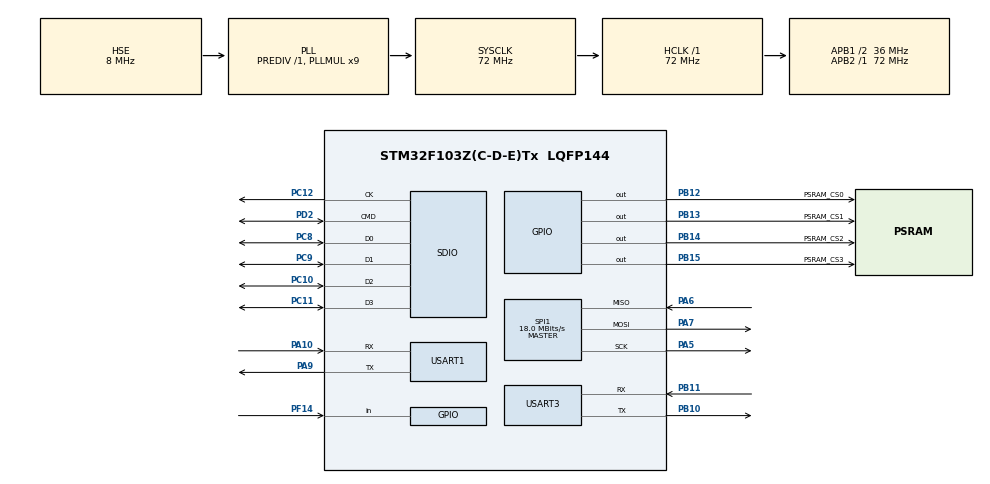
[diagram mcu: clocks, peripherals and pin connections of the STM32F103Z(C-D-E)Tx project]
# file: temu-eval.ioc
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Dma.Request0=SDIO
Dma.Request1=SPI1_TX
Dma.Request2=SPI1_RX
Dma.SDIO.0.Direction=DMA_PERIPH_TO_MEMORY
Dma.SDIO.0.Instance=DMA2_Channel4
Dma.SDIO.0.MemDataAlignment=DMA_MDATAALIGN_WORD
Dma.SDIO.0.MemInc=DMA_MINC_ENABLE
Dma.SDIO.0.Mode=DMA_CIRCULAR
Dma.SDIO.0.PeriphDataAlignment=DMA_PDATAALIGN_WORD
Dma.SDIO.0.PeriphInc=DMA_PINC_DISABLE
Dma.SDIO.0.Priority=DMA_PRIORITY_MEDIUM
Dma.SPI1_RX.2.Direction=DMA_PERIPH_TO_MEMORY
Dma.SPI1_RX.2.Instance=DMA1_Channel2
Dma.SPI1_RX.2.MemDataAlignment=DMA_MDATAALIGN_BYTE
Dma.SPI1_RX.2.MemInc=DMA_MINC_ENABLE
Dma.SPI1_RX.2.Mode=DMA_NORMAL
Dma.SPI1_RX.2.PeriphDataAlignment=DMA_PDATAALIGN_BYTE
Dma.SPI1_RX.2.PeriphInc=DMA_PINC_DISABLE
Dma.SPI1_RX.2.Priority=DMA_PRIORITY_LOW
Dma.SPI1_TX.1.Direction=DMA_MEMORY_TO_PERIPH
Dma.SPI1_TX.1.Instance=DMA1_Channel3
Dma.SPI1_TX.1.MemDataAlignment=DMA_MDATAALIGN_BYTE
Dma.SPI1_TX.1.MemInc=DMA_MINC_ENABLE
Dma.SPI1_TX.1.Mode=DMA_NORMAL
Dma.SPI1_TX.1.PeriphDataAlignment=DMA_PDATAALIGN_BYTE
Dma.SPI1_TX.1.PeriphInc=DMA_PINC_DISABLE
Dma.SPI1_TX.1.Priority=DMA_PRIORITY_MEDIUM
FATFS.BSP.number=1
FATFS0.BSP.STBoard=false
FATFS0.BSP.api=Unknown
FATFS0.BSP.instance=PF14
FATFS0.BSP.ip=GPIO
FATFS0.BSP.mode=Input
FATFS0.BSP.name=Detect_SDIO
FATFS0.BSP.solution=PF14
Mcu.Family=STM32F1
Mcu.Name=STM32F103Z(C-D-E)Tx
Mcu.Package=LQFP144
NVIC.DMA1_Channel2_IRQn=true\:0\:0\:false\:false\:true\:false\:true\:true
NVIC.DMA1_Channel3_IRQn=true\:3\:0\:true\:false\:true\:false\:true\:true
NVIC.DMA2_Channel4_5_IRQn=true\:2\:0\:true\:false\:true\:false\:true\:true
NVIC.PriorityGroup=NVIC_PRIORITYGROUP_4
NVIC.SDIO_IRQn=true\:0\:0\:true\:false\:true\:true\:true\:true
NVIC.SPI1_IRQn=true\:5\:0\:true\:false\:true\:true\:true\:true
NVIC.TIM3_IRQn=true\:4\:0\:true\:false\:true\:true\:true\:true
NVIC.USART1_IRQn=true\:3\:0\:true\:false\:true\:true\:true\:true
NVIC.USART3_IRQn=true\:3\:0\:true\:false\:true\:true\:true\:true
OSC_IN.Mode=HSE-External-Oscillator
OSC_IN.Signal=RCC_OSC_IN
OSC_OUT.Mode=HSE-External-Oscillator
OSC_OUT.Signal=RCC_OSC_OUT
PA10.Mode=Asynchronous
PA10.Signal=USART1_RX
PA13.Mode=Serial_Wire
PA13.Signal=SYS_JTMS-SWDIO
PA14.Mode=Serial_Wire
PA14.Signal=SYS_JTCK-SWCLK
PA5.Mode=Full_Duplex_Master
PA5.Signal=SPI1_SCK
PA6.Mode=Full_Duplex_Master
PA6.Signal=SPI1_MISO
PA7.Mode=Full_Duplex_Master
PA7.Signal=SPI1_MOSI
PA9.Mode=Asynchronous
PA9.Signal=USART1_TX
PB10.Mode=Asynchronous
PB10.Signal=USART3_TX
PB11.Mode=Asynchronous
PB11.Signal=USART3_RX
PB12.GPIO_Label=PSRAM_CS0
PB12.GPIO_Speed=GPIO_SPEED_FREQ_HIGH
PB12.PinState=GPIO_PIN_SET
PB12.Signal=GPIO_Output
PB13.GPIO_Label=PSRAM_CS1
PB13.GPIO_Speed=GPIO_SPEED_FREQ_HIGH
PB13.PinState=GPIO_PIN_SET
PB13.Signal=GPIO_Output
PB14.GPIO_Label=PSRAM_CS2
PB14.GPIO_Speed=GPIO_SPEED_FREQ_HIGH
PB14.PinState=GPIO_PIN_SET
PB14.Signal=GPIO_Output
PB15.GPIO_Label=PSRAM_CS3
PB15.GPIO_Speed=GPIO_SPEED_FREQ_HIGH
PB15.PinState=GPIO_PIN_SET
PB15.Signal=GPIO_Output
PC10.Mode=SD_4_bits_Wide_bus
PC10.Signal=SDIO_D2
PC11.Mode=SD_4_bits_Wide_bus
PC11.Signal=SDIO_D3
PC12.Mode=SD_4_bits_Wide_bus
PC12.Signal=SDIO_CK
PC8.Mode=SD_4_bits_Wide_bus
PC8.Signal=SDIO_D0
PC9.Mode=SD_4_bits_Wide_bus
PC9.Signal=SDIO_D1
PD2.Mode=SD_4_bits_Wide_bus
PD2.Signal=SDIO_CMD
PF14.Signal=GPIO_Input
ProjectManager.HeapSize=0x800
ProjectManager.StackSize=0x800
ProjectManager.TargetToolchain=STM32CubeIDE
RCC.AHBFreq_Value=72000000
RCC.APB1CLKDivider=RCC_HCLK_DIV2
RCC.APB1Freq_Value=36000000
RCC.APB1TimFreq_Value=72000000
RCC.APB2Freq_Value=72000000
RCC.APB2TimFreq_Value=72000000
RCC.HCLKFreq_Value=72000000
RCC.PLLMUL=RCC_PLL_MUL9
RCC.PLLSourceVirtual=RCC_PLLSOURCE_HSE
RCC.SYSCLKFreq_VALUE=72000000
RCC.SYSCLKSource=RCC_SYSCLKSOURCE_PLLCLK
RCC.USBFreq_Value=72000000
SDIO.ClockDiv=12
SPI1.BaudRatePrescaler=SPI_BAUDRATEPRESCALER_4
SPI1.CLKPhase=SPI_PHASE_1EDGE
SPI1.CLKPolarity=SPI_POLARITY_LOW
SPI1.CalculateBaudRate=18.0 MBits/s
SPI1.Direction=SPI_DIRECTION_2LINES
SPI1.Mode=SPI_MODE_MASTER
SPI1.VirtualType=VM_MASTER
TIM3.AutoReloadPreload=TIM_AUTORELOAD_PRELOAD_ENABLE
TIM3.Period=80-1
TIM3.Prescaler=90-1
USART1.VirtualMode=VM_ASYNC
USART3.VirtualMode=VM_ASYNC
VP_FATFS_VS_SDIO.Mode=SDIO
VP_TIM3_VS_ClockSourceINT.Mode=Internal
board=custom

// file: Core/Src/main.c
/* USER CODE BEGIN Header */
/**
  ******************************************************************************
  * @file           : main.c
  * @brief          : Main program body
  ******************************************************************************
  * @attention
  *
  * Copyright (c) 2024 STMicroelectronics.
  * All rights reserved.
  *
  * This software is licensed under terms that can be found in the LICENSE file
  * in the root directory of this software component.
  * If no LICENSE file comes with this software, it is provided AS-IS.
  *
  ******************************************************************************
  */
/* USER CODE END Header */
#include "main.h"
#include "fatfs.h"

/* USER CODE BEGIN Includes */
#include "port/console.h"
#include "port/system_timer.h"
#include "port/main_memory.h"
#include "port/port_main.h"
/* USER CODE END Includes */

SD_HandleTypeDef hsd;
DMA_HandleTypeDef hdma_sdio;

SPI_HandleTypeDef hspi1;
DMA_HandleTypeDef hdma_spi1_tx;
DMA_HandleTypeDef hdma_spi1_rx;

TIM_HandleTypeDef htim3;

UART_HandleTypeDef huart1;
UART_HandleTypeDef huart3;

void SystemClock_Config(void);

static void MX_GPIO_Init(void);

static void MX_DMA_Init(void);

static void MX_SPI1_Init(void);

static void MX_SDIO_SD_Init(void);

static void MX_USART3_UART_Init(void);

static void MX_TIM3_Init(void);

static void MX_USART1_UART_Init(void);

/* USER CODE BEGIN 0 */

void port_main_memory_read_word_batch(uint32_t offset, uint32_t *readBuffer, uint32_t batchSize) {
    /* Dispatch address to different chips */
    while (__HAL_DMA_GET_COUNTER(&hdma_spi1_tx));

    uint8_t dispatch = offset >> 23;
    switch (dispatch) {
        case 0:
            HAL_GPIO_WritePin(PSRAM_CS0_GPIO_Port, PSRAM_CS0_Pin, GPIO_PIN_RESET);
            break;
        case 1:
            HAL_GPIO_WritePin(PSRAM_CS1_GPIO_Port, PSRAM_CS1_Pin, GPIO_PIN_RESET);
            break;
        case 2:
            HAL_GPIO_WritePin(PSRAM_CS2_GPIO_Port, PSRAM_CS2_Pin, GPIO_PIN_RESET);
            break;
        case 3:
            HAL_GPIO_WritePin(PSRAM_CS3_GPIO_Port, PSRAM_CS3_Pin, GPIO_PIN_RESET);
            break;
        default:
            return;
    }

    uint8_t sendBuffer[] = {0x03, offset >> 16, offset >> 8, offset};
    HAL_SPI_Transmit(&hspi1, sendBuffer, 4, 100);
    HAL_SPI_Receive(&hspi1, (uint8_t *) readBuffer, batchSize << 2, 100);

    switch (dispatch) {
        case 0:
            HAL_GPIO_WritePin(PSRAM_CS0_GPIO_Port, PSRAM_CS0_Pin, GPIO_PIN_SET);
            break;
        case 1:
            HAL_GPIO_WritePin(PSRAM_CS1_GPIO_Port, PSRAM_CS1_Pin, GPIO_PIN_SET);
            break;
        case 2:
            HAL_GPIO_WritePin(PSRAM_CS2_GPIO_Port, PSRAM_CS2_Pin, GPIO_PIN_SET);
            break;
        case 3:
            HAL_GPIO_WritePin(PSRAM_CS3_GPIO_Port, PSRAM_CS3_Pin, GPIO_PIN_SET);
            break;
        default:
            return;
    }
}

void port_main_memory_write_word_batch(uint32_t offset, uint32_t *wordData, uint32_t batchSize) {
    /* Dispatch address to different chips */
    while (__HAL_DMA_GET_COUNTER(&hdma_spi1_tx));

    uint8_t dispatch = offset >> 23;
    switch (dispatch) {
        case 0:
            HAL_GPIO_WritePin(PSRAM_CS0_GPIO_Port, PSRAM_CS0_Pin, GPIO_PIN_RESET);
            break;
        case 1:
            HAL_GPIO_WritePin(PSRAM_CS1_GPIO_Port, PSRAM_CS1_Pin, GPIO_PIN_RESET);
            break;
        case 2:
            HAL_GPIO_WritePin(PSRAM_CS2_GPIO_Port, PSRAM_CS2_Pin, GPIO_PIN_RESET);
            break;
        case 3:
            HAL_GPIO_WritePin(PSRAM_CS3_GPIO_Port, PSRAM_CS3_Pin, GPIO_PIN_RESET);
            break;
        default:
            return;
    }

    uint8_t sendBuffer[] = {0x02, offset >> 16, offset >> 8, offset};
    HAL_SPI_Transmit(&hspi1, sendBuffer, 4, 100);
    HAL_SPI_Transmit_DMA(&hspi1, (uint8_t *) wordData, batchSize << 2);
}

void HAL_SPI_TxCpltCallback(SPI_HandleTypeDef *hspi) {
    if (hspi->Instance == hspi1.Instance) {
        HAL_GPIO_WritePin(PSRAM_CS0_GPIO_Port, PSRAM_CS0_Pin, GPIO_PIN_SET);
        HAL_GPIO_WritePin(PSRAM_CS1_GPIO_Port, PSRAM_CS1_Pin, GPIO_PIN_SET);
        HAL_GPIO_WritePin(PSRAM_CS2_GPIO_Port, PSRAM_CS2_Pin, GPIO_PIN_SET);
        HAL_GPIO_WritePin(PSRAM_CS3_GPIO_Port, PSRAM_CS3_Pin, GPIO_PIN_SET);
    }
}

void port_main_memory_load_byte_batch(uint32_t offset, uint8_t *byteData, uint32_t batchSize) {
    /* Dispatch address to different chips */
    uint8_t dispatch = offset >> 23;

    switch (dispatch) {
        case 0:
            HAL_GPIO_WritePin(PSRAM_CS0_GPIO_Port, PSRAM_CS0_Pin, GPIO_PIN_RESET);
            break;
        case 1:
            HAL_GPIO_WritePin(PSRAM_CS1_GPIO_Port, PSRAM_CS1_Pin, GPIO_PIN_RESET);
            break;
        case 2:
            HAL_GPIO_WritePin(PSRAM_CS2_GPIO_Port, PSRAM_CS2_Pin, GPIO_PIN_RESET);
            break;
        case 3:
            HAL_GPIO_WritePin(PSRAM_CS3_GPIO_Port, PSRAM_CS3_Pin, GPIO_PIN_RESET);
            break;
        default:
            return;
    }

    uint8_t sendBuffer[] = {0x02, offset >> 16, offset >> 8, offset};
    HAL_SPI_Transmit(&hspi1, sendBuffer, 4, 100);
    HAL_SPI_Transmit(&hspi1, byteData, batchSize, 100);

    switch (dispatch) {
        case 0:
            HAL_GPIO_WritePin(PSRAM_CS0_GPIO_Port, PSRAM_CS0_Pin, GPIO_PIN_SET);
            break;
        case 1:
            HAL_GPIO_WritePin(PSRAM_CS1_GPIO_Port, PSRAM_CS1_Pin, GPIO_PIN_SET);
            break;
        case 2:
            HAL_GPIO_WritePin(PSRAM_CS2_GPIO_Port, PSRAM_CS2_Pin, GPIO_PIN_SET);
            break;
        case 3:
            HAL_GPIO_WritePin(PSRAM_CS3_GPIO_Port, PSRAM_CS3_Pin, GPIO_PIN_SET);
            break;
        default:
            return;
    }

//    int n = 50;
//    while (n) n--;
}

void psramReset() {
    HAL_GPIO_WritePin(PSRAM_CS0_GPIO_Port, PSRAM_CS0_Pin, GPIO_PIN_RESET);
    HAL_GPIO_WritePin(PSRAM_CS1_GPIO_Port, PSRAM_CS1_Pin, GPIO_PIN_RESET);
    HAL_GPIO_WritePin(PSRAM_CS2_GPIO_Port, PSRAM_CS2_Pin, GPIO_PIN_RESET);
    HAL_GPIO_WritePin(PSRAM_CS3_GPIO_Port, PSRAM_CS3_Pin, GPIO_PIN_RESET);

    uint8_t sendBuffer[] = {0x66, 0x99};
    HAL_SPI_Transmit(&hspi1, sendBuffer, 2, 100);

    HAL_GPIO_WritePin(PSRAM_CS0_GPIO_Port, PSRAM_CS0_Pin, GPIO_PIN_SET);
    HAL_GPIO_WritePin(PSRAM_CS1_GPIO_Port, PSRAM_CS1_Pin, GPIO_PIN_SET);
    HAL_GPIO_WritePin(PSRAM_CS2_GPIO_Port, PSRAM_CS2_Pin, GPIO_PIN_SET);
    HAL_GPIO_WritePin(PSRAM_CS3_GPIO_Port, PSRAM_CS3_Pin, GPIO_PIN_SET);
}

uint8_t uartRecvData = 0;

void port_console_write(uint8_t c) {
    HAL_UART_Transmit(&huart1, &c, 1, 100);
    HAL_UART_Transmit(&huart3, &c, 1, 100);
}

int port_console_read(void) {
    return uartRecvData;
}

void HAL_UART_RxCpltCallback(UART_HandleTypeDef *huart) {
    if (huart->Instance == huart1.Instance) {
        uart8250_listening(NULL);
        HAL_UART_Receive_IT(&huart1, &uartRecvData, 1);
    } else if (huart->Instance == huart3.Instance) {
        uart8250_listening(NULL);
        HAL_UART_Receive_IT(&huart3, &uartRecvData, 1);
    }
}

uint64_t hostTimerTicks = 0;

void HAL_TIM_PeriodElapsedCallback(TIM_HandleTypeDef *htim) {
    if (htim->Instance == htim3.Instance) {
        hostTimerTicks += 100;
    }
}

port_clock_t port_system_timer_get_ticks(void) {
    return hostTimerTicks;
}

/* USER CODE END 0 */

int main(void) {

    /* MCU Configuration--------------------------------------------------------*/

    /* Reset of all peripherals, Initializes the Flash interface and the Systick. */
    HAL_Init();

    /* Configure the system clock */
    SystemClock_Config();

    /* Initialize all configured peripherals */
    MX_GPIO_Init();
    MX_DMA_Init();
    MX_SPI1_Init();
    MX_SDIO_SD_Init();
    MX_FATFS_Init();
    MX_USART3_UART_Init();
    MX_TIM3_Init();
    MX_USART1_UART_Init();
    /* USER CODE BEGIN 2 */
    psramReset();
    HAL_TIM_Base_Start_IT(&htim3);
    HAL_UART_Receive_IT(&huart1, &uartRecvData, 1);
    HAL_UART_Receive_IT(&huart3, &uartRecvData, 1);
    /* USER CODE END 2 */

    /* Infinite loop */
    /* USER CODE BEGIN WHILE */
    const char *temu_args_no_uboot[] = {
            "temu_default_args",
            "--addr=0x81fa0000",
            "--exec=fw_jump.bin",
            "--with=0x80000000#Image",
            "--with=0x81ffd800#u-boot.dtb",
    };

    port_main(5, temu_args_no_uboot);

    while (1) {
        /* USER CODE END WHILE */

    }
}

void SystemClock_Config(void) {
    RCC_OscInitTypeDef RCC_OscInitStruct = {0};
    RCC_ClkInitTypeDef RCC_ClkInitStruct = {0};

    /** Initializes the RCC Oscillators according to the specified parameters
    * in the RCC_OscInitTypeDef structure.
    */
    RCC_OscInitStruct.OscillatorType = RCC_OSCILLATORTYPE_HSE;
    RCC_OscInitStruct.HSEState = RCC_HSE_ON;
    RCC_OscInitStruct.HSEPredivValue = RCC_HSE_PREDIV_DIV1;
    RCC_OscInitStruct.HSIState = RCC_HSI_ON;
    RCC_OscInitStruct.PLL.PLLState = RCC_PLL_ON;
    RCC_OscInitStruct.PLL.PLLSource = RCC_PLLSOURCE_HSE;
    RCC_OscInitStruct.PLL.PLLMUL = RCC_PLL_MUL9;
    if (HAL_RCC_OscConfig(&RCC_OscInitStruct) != HAL_OK) {
        Error_Handler();
    }

    /** Initializes the CPU, AHB and APB buses clocks
    */
    RCC_ClkInitStruct.ClockType = RCC_CLOCKTYPE_HCLK | RCC_CLOCKTYPE_SYSCLK
                                  | RCC_CLOCKTYPE_PCLK1 | RCC_CLOCKTYPE_PCLK2;
    RCC_ClkInitStruct.SYSCLKSource = RCC_SYSCLKSOURCE_PLLCLK;
    RCC_ClkInitStruct.AHBCLKDivider = RCC_SYSCLK_DIV1;
    RCC_ClkInitStruct.APB1CLKDivider = RCC_HCLK_DIV2;
    RCC_ClkInitStruct.APB2CLKDivider = RCC_HCLK_DIV1;

    if (HAL_RCC_ClockConfig(&RCC_ClkInitStruct, FLASH_LATENCY_2) != HAL_OK) {
        Error_Handler();
    }
}

static void MX_SDIO_SD_Init(void) {

    hsd.Instance = SDIO;
    hsd.Init.ClockEdge = SDIO_CLOCK_EDGE_RISING;
    hsd.Init.ClockBypass = SDIO_CLOCK_BYPASS_DISABLE;
    hsd.Init.ClockPowerSave = SDIO_CLOCK_POWER_SAVE_DISABLE;
    hsd.Init.BusWide = SDIO_BUS_WIDE_1B;
    hsd.Init.HardwareFlowControl = SDIO_HARDWARE_FLOW_CONTROL_DISABLE;
    hsd.Init.ClockDiv = 12;

}

static void MX_SPI1_Init(void) {

    /* SPI1 parameter configuration*/
    hspi1.Instance = SPI1;
    hspi1.Init.Mode = SPI_MODE_MASTER;
    hspi1.Init.Direction = SPI_DIRECTION_2LINES;
    hspi1.Init.DataSize = SPI_DATASIZE_8BIT;
    hspi1.Init.CLKPolarity = SPI_POLARITY_LOW;
    hspi1.Init.CLKPhase = SPI_PHASE_1EDGE;
    hspi1.Init.NSS = SPI_NSS_SOFT;
    hspi1.Init.BaudRatePrescaler = SPI_BAUDRATEPRESCALER_4;
    hspi1.Init.FirstBit = SPI_FIRSTBIT_MSB;
    hspi1.Init.TIMode = SPI_TIMODE_DISABLE;
    hspi1.Init.CRCCalculation = SPI_CRCCALCULATION_DISABLE;
    hspi1.Init.CRCPolynomial = 10;
    if (HAL_SPI_Init(&hspi1) != HAL_OK) {
        Error_Handler();
    }

}

static void MX_TIM3_Init(void) {

    TIM_ClockConfigTypeDef sClockSourceConfig = {0};
    TIM_MasterConfigTypeDef sMasterConfig = {0};

    htim3.Instance = TIM3;
    htim3.Init.Prescaler = 90 - 1;
    htim3.Init.CounterMode = TIM_COUNTERMODE_UP;
    htim3.Init.Period = 80 - 1;
    htim3.Init.ClockDivision = TIM_CLOCKDIVISION_DIV1;
    htim3.Init.AutoReloadPreload = TIM_AUTORELOAD_PRELOAD_ENABLE;
    if (HAL_TIM_Base_Init(&htim3) != HAL_OK) {
        Error_Handler();
    }
    sClockSourceConfig.ClockSource = TIM_CLOCKSOURCE_INTERNAL;
    if (HAL_TIM_ConfigClockSource(&htim3, &sClockSourceConfig) != HAL_OK) {
        Error_Handler();
    }
    sMasterConfig.MasterOutputTrigger = TIM_TRGO_RESET;
    sMasterConfig.MasterSlaveMode = TIM_MASTERSLAVEMODE_DISABLE;
    if (HAL_TIMEx_MasterConfigSynchronization(&htim3, &sMasterConfig) != HAL_OK) {
        Error_Handler();
    }

}

static void MX_USART1_UART_Init(void) {

    huart1.Instance = USART1;
    huart1.Init.BaudRate = 115200;
    huart1.Init.WordLength = UART_WORDLENGTH_8B;
    huart1.Init.StopBits = UART_STOPBITS_1;
    huart1.Init.Parity = UART_PARITY_NONE;
    huart1.Init.Mode = UART_MODE_TX_RX;
    huart1.Init.HwFlowCtl = UART_HWCONTROL_NONE;
    huart1.Init.OverSampling = UART_OVERSAMPLING_16;
    if (HAL_UART_Init(&huart1) != HAL_OK) {
        Error_Handler();
    }

}

static void MX_USART3_UART_Init(void) {

    huart3.Instance = USART3;
    huart3.Init.BaudRate = 115200;
    huart3.Init.WordLength = UART_WORDLENGTH_8B;
    huart3.Init.StopBits = UART_STOPBITS_1;
    huart3.Init.Parity = UART_PARITY_NONE;
    huart3.Init.Mode = UART_MODE_TX_RX;
    huart3.Init.HwFlowCtl = UART_HWCONTROL_NONE;
    huart3.Init.OverSampling = UART_OVERSAMPLING_16;
    if (HAL_UART_Init(&huart3) != HAL_OK) {
        Error_Handler();
    }

}

static void MX_DMA_Init(void) {

    /* DMA controller clock enable */
    __HAL_RCC_DMA2_CLK_ENABLE();
    __HAL_RCC_DMA1_CLK_ENABLE();

    /* DMA interrupt init */
    /* DMA1_Channel2_IRQn interrupt configuration */
    HAL_NVIC_SetPriority(DMA1_Channel2_IRQn, 0, 0);
    HAL_NVIC_EnableIRQ(DMA1_Channel2_IRQn);
    /* DMA1_Channel3_IRQn interrupt configuration */
    HAL_NVIC_SetPriority(DMA1_Channel3_IRQn, 3, 0);
    HAL_NVIC_EnableIRQ(DMA1_Channel3_IRQn);
    /* DMA2_Channel4_5_IRQn interrupt configuration */
    HAL_NVIC_SetPriority(DMA2_Channel4_5_IRQn, 2, 0);
    HAL_NVIC_EnableIRQ(DMA2_Channel4_5_IRQn);

}

static void MX_GPIO_Init(void) {
    GPIO_InitTypeDef GPIO_InitStruct = {0};

    /* GPIO Ports Clock Enable */
    __HAL_RCC_GPIOA_CLK_ENABLE();
    __HAL_RCC_GPIOF_CLK_ENABLE();
    __HAL_RCC_GPIOB_CLK_ENABLE();
    __HAL_RCC_GPIOC_CLK_ENABLE();
    __HAL_RCC_GPIOD_CLK_ENABLE();

    /*Configure GPIO pin Output Level */
    HAL_GPIO_WritePin(GPIOB, PSRAM_CS0_Pin | PSRAM_CS1_Pin | PSRAM_CS2_Pin | PSRAM_CS3_Pin, GPIO_PIN_SET);

    /*Configure GPIO pin : PF14 */
    GPIO_InitStruct.Pin = GPIO_PIN_14;
    GPIO_InitStruct.Mode = GPIO_MODE_INPUT;
    GPIO_InitStruct.Pull = GPIO_NOPULL;
    HAL_GPIO_Init(GPIOF, &GPIO_InitStruct);

    /*Configure GPIO pins : PSRAM_CS0_Pin PSRAM_CS1_Pin PSRAM_CS2_Pin PSRAM_CS3_Pin */
    GPIO_InitStruct.Pin = PSRAM_CS0_Pin | PSRAM_CS1_Pin | PSRAM_CS2_Pin | PSRAM_CS3_Pin;
    GPIO_InitStruct.Mode = GPIO_MODE_OUTPUT_PP;
    GPIO_InitStruct.Pull = GPIO_NOPULL;
    GPIO_InitStruct.Speed = GPIO_SPEED_FREQ_HIGH;
    HAL_GPIO_Init(GPIOB, &GPIO_InitStruct);

}

void Error_Handler(void) {
    __disable_irq();
    while (1) {
    }
}
